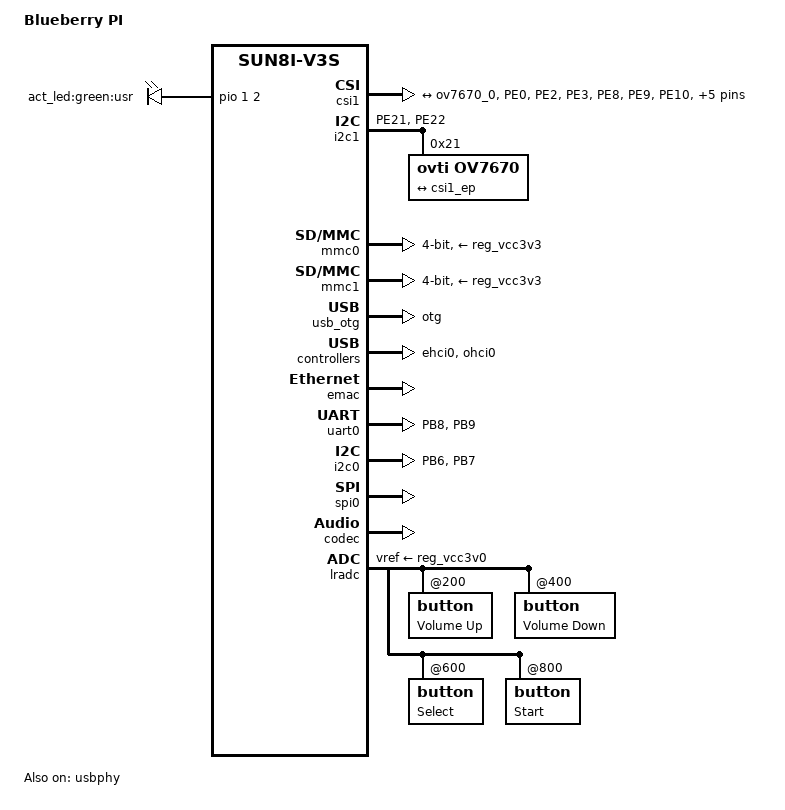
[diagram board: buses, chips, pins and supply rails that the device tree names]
/dts-v1/;
#include "sun8i-v3s.dtsi"
#include "sunxi-common-regulators.dtsi"
#include <dt-bindings/input/input.h>
/ {
	model = "Blueberry PI";
	compatible = "blueberrypi", "allwinner,sun8i-v3s";

	aliases {
		serial0 = &uart0;
		ethernet0 = &emac;
		
	};

	chosen {
		stdout-path = "serial0:115200n8";
	};

	leds {
	compatible = "gpio-leds";

	act_led {
		label = "act_led:green:usr";
		gpios = <&pio 1 2 GPIO_ACTIVE_HIGH>; /* PB2 */
		linux,default-trigger = "mmc0";
		default-state = "off";
	};
	};
};



&csi1 {
	status = "okay";
    pinctrl-names = "default";
    pinctrl-0 = <&csi1_clk &csi1_8bit>;

port {
	
	
	csi1_ep: endpoint {
		remote-endpoint = <&ov7670_0>;
		  bus-width = <8>;
				hsync-active = <0>;
				vsync-active = <0>;
				pclk-sample = <1>;
		
		};
};
 };

&i2c1 {
    	pinctrl-0 = <&i2c1_pins>;
	pinctrl-names = "default";
	status = "okay";

	
	ov7670: camera@21 {
		compatible = "ovti,ov7670";
		reg = <0x21>;
		pinctrl-names = "default";
		pinctrl-0 = <&csi1_mclk>;
		clocks = <&ccu CLK_CSI1_MCLK>;
		clock-names = "xclk";
		assigned-clock-rates = <24000000>;
		
		port {
			ov7670_0: endpoint {
				remote-endpoint = <&csi1_ep>;
				 hsync-active = <1>;
				vsync-active = <0>;
				bus-width = <8>;
				data-active = <1>;
				pclk-sample = <1>;
					
			};
		};
	};
};



&mmc0 {
	pinctrl-0 = <&mmc0_pins>;
	pinctrl-names = "default";
	broken-cd;
	bus-width = <4>;
	vmmc-supply = <&reg_vcc3v3>;
	status = "okay";
};

&mmc1 {
	pinctrl-0 = <&mmc1_pins>;
	pinctrl-names = "default";
	broken-cd;
	bus-width = <4>;
	vmmc-supply = <&reg_vcc3v3>;
	status = "okay";
};

&usb_otg {
	dr_mode = "otg";
	status = "okay";
};

&usbphy {
	pinctrl-0 = <&usb0_id_detect_pin>;
	usb0_id_det-gpio = <&pio 5 6 GPIO_ACTIVE_LOW>;
	status = "okay";
};

&ehci0 {
                         
    status = "okay";
};

&ohci0 {
                         
    status = "okay";
};

&emac {
	allwinner,leds-active-high;
	status = "okay";
};

&uart0 {
	pinctrl-0 = <&uart0_pins>;
	pinctrl-names = "default";
	status = "okay";
};

&i2c0 {
	pinctrl-0 = <&i2c0_pins>;
	pinctrl-names = "default";
	status = "okay";
};

&spi0 {
	pinctrl-0 = <&spi0_pins>;
	pinctrl-names = "default";
	status = "okay";
	
};

&codec {
	allwinner,audio-routing = "Headphone", "HP", "Headphone", "HPCOM", "Mic", "MIC1";
	status = "okay";
};

&lradc {
	vref-supply = <&reg_vcc3v0>;
	status = "okay";

	button@200 {
		label = "Volume Up";
		linux,code = <KEY_VOLUMEUP>;
		channel = <0>;
		voltage = <200000>;
	};

	button@400 {
		label = "Volume Down";
		linux,code = <KEY_VOLUMEDOWN>;
		channel = <0>;
		voltage = <400000>;
	};

	button@600 {
		label = "Select";
		linux,code = <KEY_SELECT>;
		channel = <0>;
		voltage = <600000>;
	};

	button@800 {
		label = "Start";
		linux,code = <KEY_OK>;
		channel = <0>;
		voltage = <800000>;
	};
};

&pio {
	csi1_8bit: csi1-8bit@0 {
	       pins 	 = "PE8","PE9","PE10","PE11","PE12","PE13","PE14","PE15";
	       bias-pullup;
	       function = "csi";
    	};

	csi1_clk: csi1-clk@0 {
	        pins = "PE0","PE2","PE3";
	        bias-pullup;
	        function = "csi";
    	};
    
    csi1_mclk: csi1-mclk@0 {
	        pins = "PE1";
	        bias-pullup;
	        function = "csi";
    	};

	i2c0_pins: i2c0 {
		pins = "PB6", "PB7";
		function = "i2c0";
	};

	i2c1_pins: i2c1 {
		pins = "PE21", "PE22";
		function = "i2c1";
	};
	

	uart0_pins: uart0@0 {
	 	pins = "PB8", "PB9";
		function = "uart0";
	};
	
	usb0_id_detect_pin: usbid@0 {
	 	pins = "PF6";
		function = "gpio_in";
	};
};

